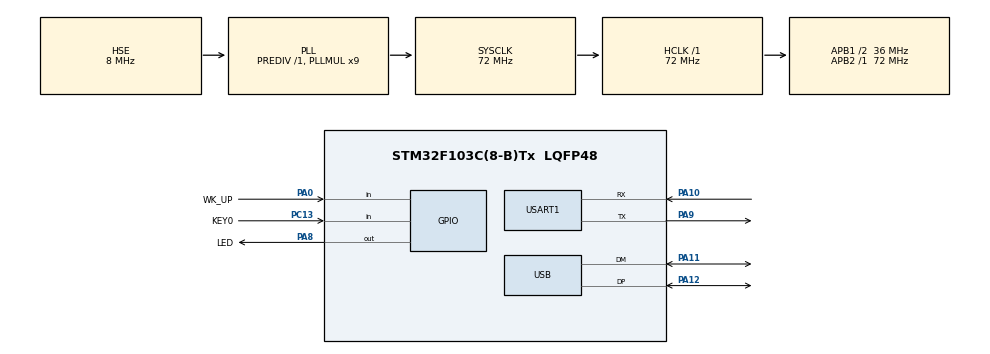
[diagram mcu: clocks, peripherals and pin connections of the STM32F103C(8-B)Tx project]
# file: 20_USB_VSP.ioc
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Mcu.Family=STM32F1
Mcu.Name=STM32F103C(8-B)Tx
Mcu.Package=LQFP48
NVIC.PriorityGroup=NVIC_PRIORITYGROUP_2
NVIC.USART1_IRQn=true\:2\:0\:true\:false\:true\:true\:true\:true
NVIC.USB_LP_CAN1_RX0_IRQn=true\:2\:1\:true\:false\:true\:false\:true\:true
PA0-WKUP.GPIO_Label=WK_UP
PA0-WKUP.GPIO_PuPd=GPIO_PULLDOWN
PA0-WKUP.Signal=GPIO_Input
PA10.Mode=Asynchronous
PA10.Signal=USART1_RX
PA11.Mode=Device
PA11.Signal=USB_DM
PA12.Mode=Device
PA12.Signal=USB_DP
PA13.Mode=Serial_Wire
PA13.Signal=SYS_JTMS-SWDIO
PA14.Mode=Serial_Wire
PA14.Signal=SYS_JTCK-SWCLK
PA8.GPIO_Label=LED
PA8.GPIO_PuPd=GPIO_PULLUP
PA8.GPIO_Speed=GPIO_SPEED_FREQ_HIGH
PA8.PinState=GPIO_PIN_SET
PA8.Signal=GPIO_Output
PA9.Mode=Asynchronous
PA9.Signal=USART1_TX
PC13-TAMPER-RTC.GPIO_Label=KEY0
PC13-TAMPER-RTC.GPIO_PuPd=GPIO_PULLUP
PC13-TAMPER-RTC.Signal=GPIO_Input
PC14-OSC32_IN.Mode=LSE-External-Oscillator
PC14-OSC32_IN.Signal=RCC_OSC32_IN
PC15-OSC32_OUT.Mode=LSE-External-Oscillator
PC15-OSC32_OUT.Signal=RCC_OSC32_OUT
PD0-OSC_IN.Mode=HSE-External-Oscillator
PD0-OSC_IN.Signal=RCC_OSC_IN
PD1-OSC_OUT.Mode=HSE-External-Oscillator
PD1-OSC_OUT.Signal=RCC_OSC_OUT
ProjectManager.HeapSize=0x200
ProjectManager.StackSize=0x400
ProjectManager.TargetToolchain=STM32CubeIDE
RCC.AHBFreq_Value=72000000
RCC.APB1CLKDivider=RCC_HCLK_DIV2
RCC.APB1Freq_Value=36000000
RCC.APB1TimCLKDivider=2
RCC.APB1TimFreq_Value=72000000
RCC.APB2Freq_Value=72000000
RCC.APB2TimFreq_Value=72000000
RCC.HCLKFreq_Value=72000000
RCC.PLLMUL=RCC_PLL_MUL9
RCC.PLLSourceVirtual=RCC_PLLSOURCE_HSE
RCC.SYSCLKFreq_VALUE=72000000
RCC.SYSCLKSource=RCC_SYSCLKSOURCE_PLLCLK
RCC.USBFreq_Value=48000000
RCC.USBPrescaler=RCC_USBCLKSOURCE_PLL_DIV1_5
USART1.VirtualMode=VM_ASYNC
USB_DEVICE.CLASS_NAME_FS=CDC
USB_DEVICE.VirtualMode=Cdc
USB_DEVICE.VirtualModeFS=Cdc_FS
VP_USB_DEVICE_VS_USB_DEVICE_CDC_FS.Mode=CDC_FS
board=custom

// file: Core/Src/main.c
/**
 ****************************************************************************************************
 * @file        main.c
 * @author      ALIENTEK
 * @brief       USB virtual serial port(Slave) code
 * @license     Copyright (C) 2020-2032, ALIENTEK
 ****************************************************************************************************
 * @attention
 *
 * platform  	: ALIENTEK STM32F103 development board
 * website		: https://www.alientek.com
 * forum		: http://www.openedv.com/forum.php
 *
 * change logs	:
 * version		data		notes
 * V1.0			20240222	the first version
 *
 ****************************************************************************************************
 */

/* USER CODE BEGIN Header */

/* USER CODE END Header */
#include "main.h"
#include "usart.h"
#include "usb_device.h"
#include "gpio.h"

/* USER CODE BEGIN Includes */
#include "../../BSP/LED/led.h"
#include "../../ATK_Middlewares/MALLOC/malloc.h"
#include "usbd_cdc_if.h"
/* USER CODE END Includes */

/* USER CODE BEGIN PTD */

extern volatile uint8_t g_device_state;     /* USB connection status */

void stm32f103c8t6_show_mesg(void)
{
	/* The serial port outputs the experimental information */
	printf("\n");
	printf("********************************\r\n");
	printf("STM32F103\r\n");
	printf("USB Virtual USART Test\r\n");
	printf("ATOM@ALIENTEK\r\n");
	printf("USB Connecting...\r\n");
	printf("********************************\r\n");
	printf("\r\n");
}

/* USER CODE END PTD */

void SystemClock_Config(void);

int main(void)
{
  /* USER CODE BEGIN 1 */
    uint16_t len;
    uint16_t times = 0;
    uint8_t usbstatus = 0;

  /* USER CODE END 1 */

  /* MCU Configuration--------------------------------------------------------*/

  /* Reset of all peripherals, Initializes the Flash interface and the Systick. */
  HAL_Init();

  /* Configure the system clock */
  SystemClock_Config();

  /* Initialize all configured peripherals */
  MX_GPIO_Init();
  MX_USART1_UART_Init();
  MX_USB_DEVICE_Init();
  /* USER CODE BEGIN 2 */

  stm32f103c8t6_show_mesg();
  my_mem_init(SRAMIN);                		/* Initializes the internal SRAM memory pool */

  usbd_port_config(0);    					/* USB disconnect first */
  HAL_Delay(500);
  usbd_port_config(1);    					/* USB connect again */
  HAL_Delay(500);

  /* USER CODE END 2 */

  /* Infinite loop */
  /* USER CODE BEGIN WHILE */
  while (1)
  {
	  if (usbstatus != g_device_state)   	/* The USB connection status changes. */
	  {
		  usbstatus = g_device_state; 		/* Record new status */

		  if (usbstatus == 1)
		  {
			  printf("USB Connected    "); 	/* A message is displayed indicating that the USB connection is successful */
		  }
		  else
		  {
			  printf("USB disConnected "); 	/* Prompt USB disconnect */
		  }
	  }

	  if (g_usb_usart_rx_sta & 0x8000)
	  {
		  len = g_usb_usart_rx_sta & 0x3FFF;  	/* Get the length of the received data */
		  usb_printf("\r\nThe length of the message you are sending is:%d\r\n\r\n", len);
		  cdc_vcp_data_tx(g_usb_usart_rx_buffer, len);;
		  usb_printf("\r\n\r\n");				/* Insert line feed */
		  g_usb_usart_rx_sta = 0;
	  }
	  else
	  {
		  times++;

		  if (times % 5000 == 0)
		  {
			  usb_printf("\r\nSTM32F103 development board USB Virtual USART Test\r\n");
			  usb_printf("ALIENTEK\r\n\r\n");
		  }

		  if (times % 200 == 0)usb_printf("Please enter the data and end with the Enter key\r\n");

		  if (times % 30 == 0)
		  {
			  LED_TOGGLE();  /* Blinking LED indicates that the system is running */
		  }

		  HAL_Delay(10);
	  }

    /* USER CODE END WHILE */

  }
}

void SystemClock_Config(void)
{
  RCC_OscInitTypeDef RCC_OscInitStruct = {0};
  RCC_ClkInitTypeDef RCC_ClkInitStruct = {0};
  RCC_PeriphCLKInitTypeDef PeriphClkInit = {0};

  /** Initializes the RCC Oscillators according to the specified parameters
  * in the RCC_OscInitTypeDef structure.
  */
  RCC_OscInitStruct.OscillatorType = RCC_OSCILLATORTYPE_HSE;
  RCC_OscInitStruct.HSEState = RCC_HSE_ON;
  RCC_OscInitStruct.HSEPredivValue = RCC_HSE_PREDIV_DIV1;
  RCC_OscInitStruct.HSIState = RCC_HSI_ON;
  RCC_OscInitStruct.PLL.PLLState = RCC_PLL_ON;
  RCC_OscInitStruct.PLL.PLLSource = RCC_PLLSOURCE_HSE;
  RCC_OscInitStruct.PLL.PLLMUL = RCC_PLL_MUL9;
  if (HAL_RCC_OscConfig(&RCC_OscInitStruct) != HAL_OK)
  {
    Error_Handler();
  }

  /** Initializes the CPU, AHB and APB buses clocks
  */
  RCC_ClkInitStruct.ClockType = RCC_CLOCKTYPE_HCLK|RCC_CLOCKTYPE_SYSCLK
                              |RCC_CLOCKTYPE_PCLK1|RCC_CLOCKTYPE_PCLK2;
  RCC_ClkInitStruct.SYSCLKSource = RCC_SYSCLKSOURCE_PLLCLK;
  RCC_ClkInitStruct.AHBCLKDivider = RCC_SYSCLK_DIV1;
  RCC_ClkInitStruct.APB1CLKDivider = RCC_HCLK_DIV2;
  RCC_ClkInitStruct.APB2CLKDivider = RCC_HCLK_DIV1;

  if (HAL_RCC_ClockConfig(&RCC_ClkInitStruct, FLASH_LATENCY_2) != HAL_OK)
  {
    Error_Handler();
  }
  PeriphClkInit.PeriphClockSelection = RCC_PERIPHCLK_USB;
  PeriphClkInit.UsbClockSelection = RCC_USBCLKSOURCE_PLL_DIV1_5;
  if (HAL_RCCEx_PeriphCLKConfig(&PeriphClkInit) != HAL_OK)
  {
    Error_Handler();
  }
}

void Error_Handler(void)
{
  __disable_irq();
  while (1)
  {
  }
}
